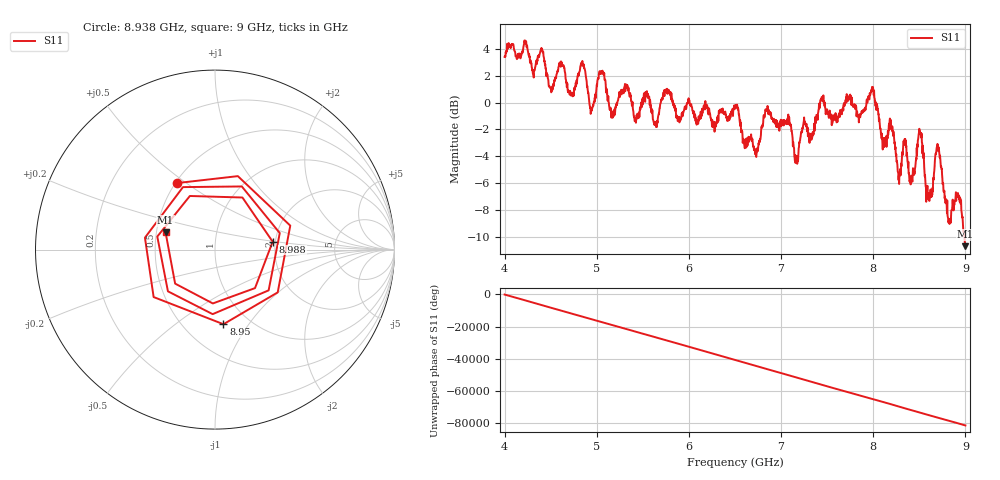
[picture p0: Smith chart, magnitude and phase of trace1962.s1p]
! Created with skrf 1.8.0 (http://scikit-rf.org).
# Hz S RI R 50.0
!freq ReS11 ImS11
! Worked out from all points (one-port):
!   1601 points, 4 GHz to 9 GHz, reference 50 ohm
!   lowest |S11| = -10.7 dB at 9 GHz (marker M1), VSWR 1.82, Z = 28 + j5.85 ohm
!   |S11| at or under -10 dB: 8.98961 GHz to end of sweep
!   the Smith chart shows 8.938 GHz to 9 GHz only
!   S11 on the Smith chart (normalised r, x): 8.938 GHz: 0.51, +0.46; 8.95 GHz: 0.76, -0.77; 8.988 GHz: 1.93, +0.19; 9 GHz: 0.56, +0.12
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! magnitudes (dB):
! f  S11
! 4 GHz  3.4
! 4.403 GHz  3.9
! 4.503 GHz  1.1
! 4.625 GHz  2.8
! 4.725 GHz  0.6
! 4.85 GHz  2.8
! 4.941 GHz  -0.5
! 5.047 GHz  2.3
! 5.162 GHz  -0.7
! 5.25 GHz  0.4
! 5.875 GHz  -1.0
! 6.5 GHz  -0.2
! 6.722 GHz  -3.7
! 6.85 GHz  -0.5
! 7.125 GHz  -2.6
! 7.75 GHz  0.6
! 7.988 GHz  1.2
! 8.109 GHz  -2.6
! 8.375 GHz  -4.4
! 8.425 GHz  -5.9
! 8.506 GHz  -2.1
! 8.594 GHz  -7.2
! 8.7 GHz  -3.2
! 8.819 GHz  -8.8
! 8.938 GHz  -7.4
! 8.95 GHz  -7.6
! 8.988 GHz  -9.8
! 9 GHz  -10.7
